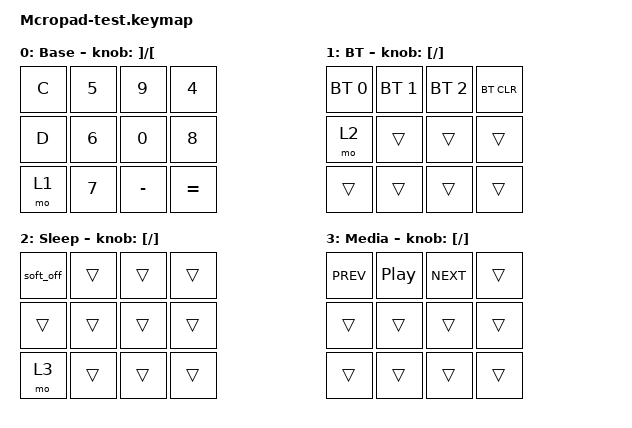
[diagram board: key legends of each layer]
#include <behaviors.dtsi>
#include <dt-bindings/zmk/keys.h>
#include <dt-bindings/zmk/bt.h>

/ {
    keymap {
        compatible = "zmk,keymap";

        // Layer 0: Base
        default_layer {
            display-name = "Base";
            bindings = <
                &kp C &kp N5 &kp N9 &kp N4
                &kp D &kp N6 &kp N0 &kp N8
                &mo 1 &kp N7 &kp MINUS &kp EQUAL
            >;
            sensor-bindings = <&inc_dec_kp RBKT LBKT>;
        };

        // Layer 1: Bluetooth
        layer_1 {
            display-name = "BT";
            bindings = <
                &bt BT_SEL 0 &bt BT_SEL 1 &bt BT_SEL 2 &bt BT_CLR
                &mo 2        &trans       &trans       &trans
                &trans       &trans       &trans       &trans
            >;
            sensor-bindings = <&inc_dec_kp LBKT RBKT>;
        };

        // Layer 2: System (Sleep)
        layer_2 {
            display-name = "Sleep";
            bindings = <
                &soft_off &trans &trans &trans
                &trans    &trans &trans &trans
                &mo 3     &trans &trans &trans
            >;
            sensor-bindings = <&inc_dec_kp LBKT RBKT>;
        };

        // Layer 3: Media
        layer_3 {
            display-name = "Media";
            bindings = <
                &kp C_PREV &kp C_PP &kp C_NEXT &trans
                &trans     &trans   &trans     &trans
                &trans     &trans   &trans     &trans
            >;
            sensor-bindings = <&inc_dec_kp LBKT RBKT>;
        };

        extra_layer {
            status = "reserved";
        };
    };
};
